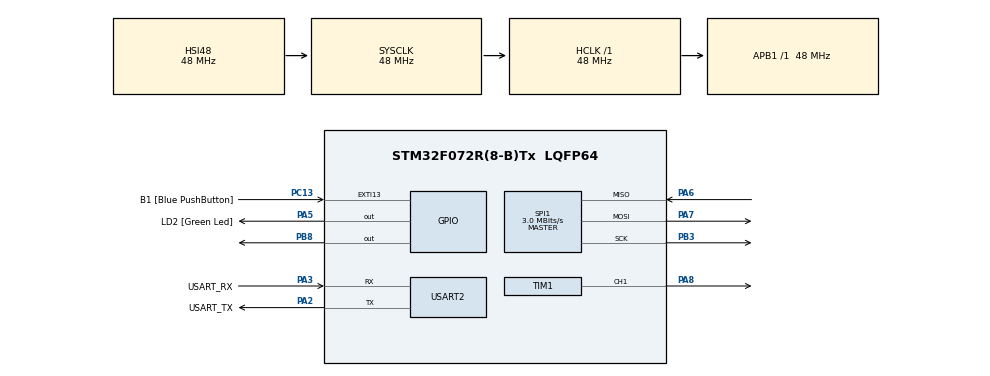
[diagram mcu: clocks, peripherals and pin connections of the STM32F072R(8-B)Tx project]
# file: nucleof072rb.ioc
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Mcu.Family=STM32F0
Mcu.Name=STM32F072R(8-B)Tx
Mcu.Package=LQFP64
PA13.GPIO_Label=TMS
PA13.Mode=Serial_Wire
PA13.Signal=SYS_SWDIO
PA14.GPIO_Label=TCK
PA14.Mode=Serial_Wire
PA14.Signal=SYS_SWCLK
PA2.GPIO_Label=USART_TX
PA2.GPIO_Mode=GPIO_MODE_AF_PP
PA2.GPIO_PuPd=GPIO_NOPULL
PA2.GPIO_Speed=GPIO_SPEED_FREQ_LOW
PA2.Mode=Asynchronous
PA2.Signal=USART2_TX
PA3.GPIO_Label=USART_RX
PA3.GPIO_Mode=GPIO_MODE_AF_PP
PA3.GPIO_PuPd=GPIO_NOPULL
PA3.GPIO_Speed=GPIO_SPEED_FREQ_LOW
PA3.Mode=Asynchronous
PA3.Signal=USART2_RX
PA5.GPIO_Label=LD2 [Green Led]
PA5.GPIO_Mode=GPIO_MODE_OUTPUT_PP
PA5.GPIO_PuPd=GPIO_NOPULL
PA5.GPIO_Speed=GPIO_SPEED_FREQ_LOW
PA5.Signal=GPIO_Output
PA6.Mode=Full_Duplex_Master
PA6.Signal=SPI1_MISO
PA7.Mode=Full_Duplex_Master
PA7.Signal=SPI1_MOSI
PA8.Signal=S_TIM1_CH1
PB3.Mode=Full_Duplex_Master
PB3.Signal=SPI1_SCK
PB8.Signal=GPIO_Output
PC13.GPIO_Label=B1 [Blue PushButton]
PC13.GPIO_ModeDefaultEXTI=GPIO_MODE_IT_FALLING
PC13.Signal=GPXTI13
PC14-OSC32_IN.Mode=LSE-External-Oscillator
PC14-OSC32_IN.Signal=RCC_OSC32_IN
PC15-OSC32_OUT.Mode=LSE-External-Oscillator
PC15-OSC32_OUT.Signal=RCC_OSC32_OUT
PF0-OSC_IN.Mode=HSE-External-Clock-Source
PF0-OSC_IN.Signal=RCC_OSC_IN
PF1-OSC_OUT.Signal=RCC_OSC_OUT
ProjectManager.HeapSize=0x200
ProjectManager.StackSize=0x400
ProjectManager.TargetToolchain=STM32CubeIDE
RCC.AHBFreq_Value=48000000
RCC.APB1Freq_Value=48000000
RCC.APB1TimFreq_Value=48000000
RCC.FLatency-AdvancedSettings=FLASH_LATENCY_1
RCC.HCLKFreq_Value=48000000
RCC.PLLDivider=RCC_PREDIV_DIV2
RCC.PLLMUL=RCC_PLL_MUL12
RCC.PREFETCH_ENABLE-AdvancedSettings=1
RCC.SYSCLKFreq_VALUE=48000000
RCC.SYSCLKSource=RCC_SYSCLKSOURCE_HSI48
SH.S_TIM1_CH1.0=TIM1_CH1,PWM Generation1 CH1
SPI1.BaudRatePrescaler=SPI_BAUDRATEPRESCALER_16
SPI1.CalculateBaudRate=3.0 MBits/s
SPI1.DataSize=SPI_DATASIZE_8BIT
SPI1.Direction=SPI_DIRECTION_2LINES
SPI1.Mode=SPI_MODE_MASTER
SPI1.VirtualType=VM_MASTER
TIM1.AutoReloadPreload=TIM_AUTORELOAD_PRELOAD_ENABLE
TIM1.Channel-PWM\ Generation1\ CH1=TIM_CHANNEL_1
TIM1.Period=64000-1
TIM1.Prescaler=15-1
TIM1.Pulse-PWM\ Generation1\ CH1=4800
USART2.VirtualMode=VM_ASYNC
USART2.VirtualMode-Asynchronous=VM_ASYNC
VP_TIM1_VS_ClockSourceINT.Mode=Internal
board=NUCLEO-F072RB

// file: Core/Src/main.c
/* USER CODE BEGIN Header */
/**
  ******************************************************************************
  * @file           : main.c
  * @brief          : Main program body
  ******************************************************************************
  * @attention
  *
  * <h2><center>&copy; Copyright (c) 2021 STMicroelectronics.
  * All rights reserved.</center></h2>
  *
  * This software component is licensed by ST under BSD 3-Clause license,
  * the "License"; You may not use this file except in compliance with the
  * License. You may obtain a copy of the License at:
  *                        opensource.org/licenses/BSD-3-Clause
  *
  ******************************************************************************
  */
/* USER CODE END Header */
#include "main.h"
#include "spi.h"
#include "tim.h"
#include "usart.h"
#include "gpio.h"

/* USER CODE BEGIN PD */
#define ADC_START_BIT 0x01
#define ADC_SGL_BIT 0x01
#define ADC_DIFF_BIT 0x00

// channels are in order: d2, d1, d0
#define ADC_CH0 0b000
#define ADC_CH1 0b001
#define ADC_CH2 0b010
#define ADC_CH3 0b011

#define ADC_MAX_COUNT 1023
#define PWM_MIN_COUNT 3200
#define PWM_MAX_COUNT 6400

/* USER CODE END PD */

void SystemClock_Config(void);

int main(void)
{

  /* MCU Configuration--------------------------------------------------------*/

  /* Reset of all peripherals, Initializes the Flash interface and the Systick. */
  HAL_Init();

  /* Configure the system clock */
  SystemClock_Config();

  /* Initialize all configured peripherals */
  MX_GPIO_Init();
  MX_USART2_UART_Init();
  MX_SPI1_Init();
  MX_TIM1_Init();
  /* USER CODE BEGIN 2 */
  // start pwm once
  HAL_TIM_PWM_Start(&htim1, TIM_CHANNEL_1);

  // set transmit and receive registers
  uint8_t tx[3] = {0};
  uint8_t rx[3] = {0};

  // mcu transmit data (mcp3004)
  tx[0] = ADC_START_BIT;
  tx[1] = (ADC_SGL_BIT << 7) | (ADC_CH0 << 4);
  tx[2] = 0x00;
  /* USER CODE END 2 */

  /* Infinite loop */
  /* USER CODE BEGIN WHILE */
  while (1)
  {
	  // cs on pb8, go high then low to initiate communication
	  HAL_GPIO_WritePin(GPIOB, GPIO_PIN_8, GPIO_PIN_RESET);

	  // full duplex transmit command while receiving response
	  HAL_SPI_TransmitReceive(&hspi1, tx, rx, 3, HAL_MAX_DELAY); // (address to spi, tx, rx, bytes to transfer, timeout)

	  // cs goes high to end communication
	  HAL_GPIO_WritePin(GPIOB, GPIO_PIN_8, GPIO_PIN_SET);

	  // extract mcu received data
	  // rx[0]: ?, ?, ?, ?, ?, ?, ?, ?
	  // rx[1]: ?, ?, ?, ?, ?, 0 (null), B9, B8
	  // rx[2]: B7, B6, B5, B4, B3, B2, B1, B0
	  uint16_t adc = ((uint16_t)(rx[1] & 0x03) << 8) | rx[2];

	  // convert adc (0..1023) into pwm pulse counts/width (3200..6400) <- duty cycle 5-10%
	  // multiply before divide so to not truncate to 0
	  uint16_t ccr = (uint16_t) (PWM_MIN_COUNT + adc * (PWM_MAX_COUNT - PWM_MIN_COUNT) / ADC_MAX_COUNT);

	  // write pwm
	  // sets ccr (capture compare register) to change duty cycle
	  __HAL_TIM_SET_COMPARE(&htim1, TIM_CHANNEL_1, ccr);

	  HAL_Delay(10);
    /* USER CODE END WHILE */

  }
}

void SystemClock_Config(void)
{
  RCC_OscInitTypeDef RCC_OscInitStruct = {0};
  RCC_ClkInitTypeDef RCC_ClkInitStruct = {0};
  RCC_PeriphCLKInitTypeDef PeriphClkInit = {0};

  /** Initializes the RCC Oscillators according to the specified parameters
  * in the RCC_OscInitTypeDef structure.
  */
  RCC_OscInitStruct.OscillatorType = RCC_OSCILLATORTYPE_HSI48;
  RCC_OscInitStruct.HSI48State = RCC_HSI48_ON;
  RCC_OscInitStruct.PLL.PLLState = RCC_PLL_NONE;
  if (HAL_RCC_OscConfig(&RCC_OscInitStruct) != HAL_OK)
  {
    Error_Handler();
  }
  /** Initializes the CPU, AHB and APB buses clocks
  */
  RCC_ClkInitStruct.ClockType = RCC_CLOCKTYPE_HCLK|RCC_CLOCKTYPE_SYSCLK
                              |RCC_CLOCKTYPE_PCLK1;
  RCC_ClkInitStruct.SYSCLKSource = RCC_SYSCLKSOURCE_HSI48;
  RCC_ClkInitStruct.AHBCLKDivider = RCC_SYSCLK_DIV1;
  RCC_ClkInitStruct.APB1CLKDivider = RCC_HCLK_DIV1;

  if (HAL_RCC_ClockConfig(&RCC_ClkInitStruct, FLASH_LATENCY_1) != HAL_OK)
  {
    Error_Handler();
  }
  PeriphClkInit.PeriphClockSelection = RCC_PERIPHCLK_USART2;
  PeriphClkInit.Usart2ClockSelection = RCC_USART2CLKSOURCE_PCLK1;
  if (HAL_RCCEx_PeriphCLKConfig(&PeriphClkInit) != HAL_OK)
  {
    Error_Handler();
  }
}

void Error_Handler(void)
{
  __disable_irq();
  while (1)
  {
  }
}

/************************ (C) COPYRIGHT STMicroelectronics *****END OF FILE****/
